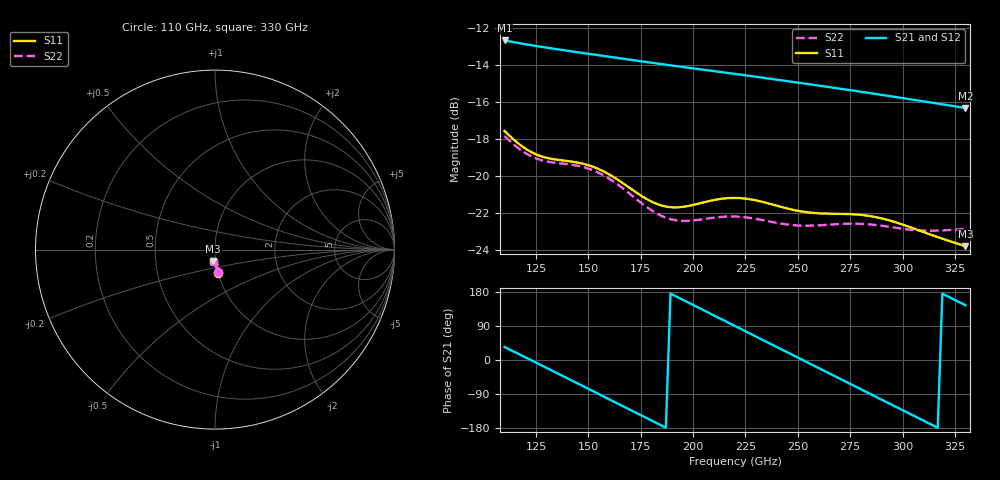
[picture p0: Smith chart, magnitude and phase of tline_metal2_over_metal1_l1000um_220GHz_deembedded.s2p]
! Created with skrf 2.0.1 (http://scikit-rf.org).
# GHz S DB R 50.0
!freq dBS11 angS11 dBS21 angS21 dBS12 angS12 dBS22 angS22
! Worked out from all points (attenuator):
!   101 points, 110 GHz to 330 GHz, reference 50 ohm
!   highest |S21| = -12.69 dB at 110 GHz (marker M1); lowest = -16.3 dB at 330 GHz (marker M2)
!   lowest |S11| = -23.8 dB at 330 GHz (marker M3), VSWR 1.14, Z = 48.5 - j6.21 ohm
!   |S11| at or under -10 dB: start of sweep to end of sweep
!   |S22| runs from -23.0 to -17.8 dB; largest |S21 - S12| = 2.7e-13
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110  -17.58 -82.6  -12.69 34.3  -12.69 34.3  -17.85 -81.7
118.8  -18.44 -82.0  -12.87 10.0  -12.87 10.0  -18.69 -80.9
127.6  -18.95 -80.5  -13.04 -14.2  -13.04 -14.2  -19.15 -79.3
138.6  -19.18 -80.2  -13.22 -44.6  -13.22 -44.6  -19.35 -79.3
147.4  -19.34 -81.9  -13.37 -68.9  -13.37 -68.9  -19.52 -81.4
156.2  -19.70 -84.5  -13.51 -93.3  -13.51 -93.3  -19.90 -84.4
165  -20.28 -86.4  -13.65 -117.7  -13.65 -117.7  -20.55 -86.9
176  -21.13 -86.4  -13.83 -148.2  -13.83 -148.2  -21.52 -87.4
184.8  -21.59 -84.2  -13.97 -172.6  -13.97 -172.6  -22.15 -85.3
193.6  -21.69 -81.7  -14.10 163.0  -14.10 163.0  -22.42 -82.5
204.6  -21.44 -80.6  -14.27 132.5  -14.27 132.5  -22.34 -80.5
220  -21.19 -83.6  -14.50 89.7  -14.50 89.7  -22.19 -81.8
228.8  -21.29 -86.1  -14.63 65.2  -14.63 65.2  -22.30 -83.2
239.8  -21.60 -88.4  -14.80 34.7  -14.80 34.7  -22.53 -84.2
248.6  -21.85 -89.2  -14.94 10.2  -14.94 10.2  -22.66 -84.3
257.4  -22.00 -89.6  -15.09 -14.2  -15.09 -14.2  -22.68 -84.4
268.4  -22.04 -90.5  -15.26 -44.7  -15.26 -44.7  -22.60 -85.4
277.2  -22.08 -92.1  -15.41 -69.1  -15.41 -69.1  -22.58 -86.9
286  -22.20 -94.2  -15.56 -93.6  -15.56 -93.6  -22.63 -88.7
294.8  -22.44 -96.3  -15.71 -118.0  -15.71 -118.0  -22.77 -90.2
312.4  -23.13 -98.9  -16.02 -166.7  -16.02 -166.7  -22.96 -92.0
330  -23.79 -99.6  -16.34 144.6  -16.34 144.6  -22.87 -95.1
